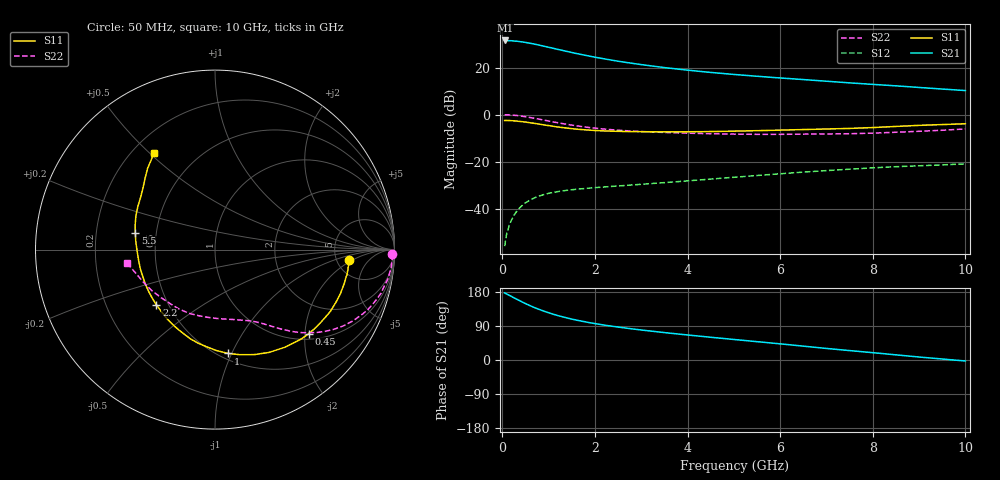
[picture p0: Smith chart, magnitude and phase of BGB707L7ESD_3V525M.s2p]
!  Infineon Technologies AG
!  BGB707L7ESD
!  Vce = 3.5V, Ic = 25.0mA
!  DATUM: 30.06.2009 10:57:34
# GHz  S  MA  R  50
!f  S11  S21  S12  S22
!GHz  Mag  Ang  Mag  Ang  Mag  Ang  Mag  Ang
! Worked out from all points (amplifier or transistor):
!   52 points, 50 MHz to 10 GHz, reference 50 ohm
!   highest |S21| = 31.5 dB at 60 MHz (marker M1)
!   |S21| within 3 dB of that: start of sweep to 1.025 GHz
!   unconditionally stable (mu >= 1): 4.015 GHz to 8.2 GHz
!   at 130 MHz: K = 0.08, MSG = 40.0 dB, |S12| = -48.6 dB
!   at 1.4 GHz: K = 0.47, MSG = 29.5 dB, |S12| = -32.2 dB
!   at 10 GHz: K = 0.90, MSG = 15.6 dB, |S12| = -21.0 dB
!   S11 on the Smith chart (normalised r, x): 50 MHz: 6.47, -1.71; 450 MHz: 1.13, -2.09; 1 GHz: 0.55, -0.97; 2.2 GHz: 0.43, -0.33; 5.5 GHz: 0.38, +0.09; 10 GHz: 0.28, +0.52
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0.05  0.7478 -4.5  36.96 177.0  0.001592 79.4  0.9862 -1.6
0.06  0.7474 -5.8  37.58 176.4  0.001728 80.7  0.9873 -2.2
0.08  0.748 -7.5  37.05 175.0  0.002329 81.6  0.9885 -3.4
0.13  0.7456 -12.4  37.37 172.0  0.003727 82.5  0.9855 -6.2
0.2  0.7407 -19.3  37.08 167.6  0.005732 78.6  0.9762 -9.8
0.35  0.7182 -33.0  35.84 158.0  0.009786 73.3  0.9433 -16.9
0.45  0.7018 -41.9  34.81 151.8  0.01212 69.8  0.9153 -21.4
0.6  0.669 -54.4  32.78 143.3  0.01522 64.5  0.8653 -27.3
0.7  0.6472 -62.3  31.39 138.0  0.01704 61.4  0.8304 -30.9
1  0.5829 -82.9  26.95 124.7  0.02112 54.5  0.7288 -39.4
1.2  0.5437 -94.9  24.28 117.2  0.02302 51.2  0.6695 -43.7
1.4  0.5156 -105.4  21.94 110.9  0.02454 49.2  0.6192 -47.2
1.6  0.4897 -114.8  19.86 105.3  0.02579 47.8  0.577 -50.2
1.8  0.4727 -122.8  18.12 100.5  0.02689 47.0  0.5424 -52.7
2.2  0.4486 -136.7  15.29 92.2  0.02885 46.7  0.4912 -57.1
2.8  0.4339 -152.3  12.3 82.1  0.03189 47.7  0.4458 -63.3
3.5  0.4296 -165.4  9.966 72.3  0.03573 49.7  0.4163 -70.5
4.5  0.4346 -179.5  7.859 60.0  0.0425 52.2  0.3913 -81.7
5.5  0.454 168.0  6.509 48.4  0.05062 53.0  0.3796 -95.9
7  0.4929 150.6  5.109 30.5  0.06428 50.8  0.3868 -121.0
8.5  0.5585 134.1  4.075 13.6  0.07791 45.8  0.4205 -147.4
10  0.637 122.4  3.236 -2.6  0.0893 40.6  0.4946 -171.0
